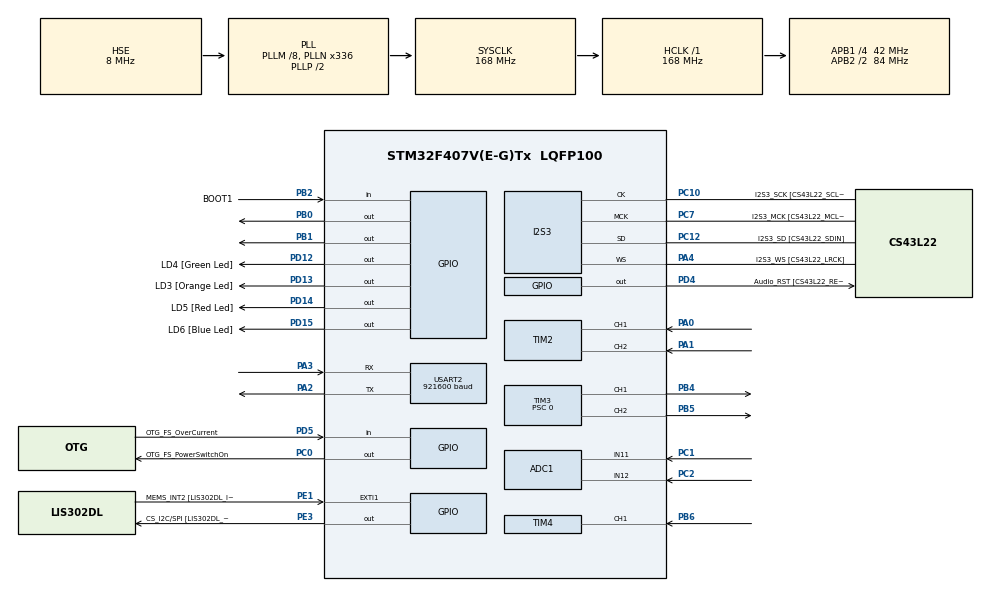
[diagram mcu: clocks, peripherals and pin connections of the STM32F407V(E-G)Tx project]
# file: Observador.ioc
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ADC1.Channel-0\#ChannelRegularConversion=ADC_CHANNEL_11
ADC1.Channel-1\#ChannelRegularConversion=ADC_CHANNEL_11
ADC1.ContinuousConvMode=ENABLE
ADC1.NbrOfConversion=2
ADC1.NbrOfConversionFlag=1
ADC1.Rank-0\#ChannelRegularConversion=1
ADC1.Rank-1\#ChannelRegularConversion=2
ADC1.SamplingTime-0\#ChannelRegularConversion=ADC_SAMPLETIME_144CYCLES
ADC1.SamplingTime-1\#ChannelRegularConversion=ADC_SAMPLETIME_144CYCLES
ADC1.ScanConvMode=ENABLE
ADC1.master=1
Dma.ADC1.0.Direction=DMA_PERIPH_TO_MEMORY
Dma.ADC1.0.FIFOMode=DMA_FIFOMODE_DISABLE
Dma.ADC1.0.Instance=DMA2_Stream0
Dma.ADC1.0.MemDataAlignment=DMA_MDATAALIGN_HALFWORD
Dma.ADC1.0.MemInc=DMA_MINC_ENABLE
Dma.ADC1.0.Mode=DMA_CIRCULAR
Dma.ADC1.0.PeriphDataAlignment=DMA_PDATAALIGN_HALFWORD
Dma.ADC1.0.PeriphInc=DMA_PINC_DISABLE
Dma.ADC1.0.Priority=DMA_PRIORITY_LOW
Dma.Request0=ADC1
Dma.Request1=USART2_TX
Dma.USART2_TX.1.Direction=DMA_MEMORY_TO_PERIPH
Dma.USART2_TX.1.FIFOMode=DMA_FIFOMODE_DISABLE
Dma.USART2_TX.1.Instance=DMA1_Stream6
Dma.USART2_TX.1.MemDataAlignment=DMA_MDATAALIGN_BYTE
Dma.USART2_TX.1.MemInc=DMA_MINC_ENABLE
Dma.USART2_TX.1.Mode=DMA_NORMAL
Dma.USART2_TX.1.PeriphDataAlignment=DMA_PDATAALIGN_BYTE
Dma.USART2_TX.1.PeriphInc=DMA_PINC_DISABLE
Dma.USART2_TX.1.Priority=DMA_PRIORITY_LOW
I2S3.AudioFreq-Half_Duplex_Master=I2S_AUDIOFREQ_96K
I2S3.ErrorAudioFreq=-2.34 %
I2S3.ErrorAudioFreq-Half_Duplex_Master=0.8 %
I2S3.FullDuplexMode=I2S_FULLDUPLEXMODE_DISABLE
I2S3.Instance=SPI$Index
I2S3.RealAudioFreq=93.75 KHz
I2S3.RealAudioFreq-Half_Duplex_Master=96.774 KHz
I2S3.VirtualMode=I2S_MODE_MASTER
Mcu.Family=STM32F4
Mcu.Name=STM32F407V(E-G)Tx
Mcu.Package=LQFP100
NVIC.DMA1_Stream6_IRQn=true\:3\:0\:true\:false\:true\:false\:true\:true
NVIC.DMA2_Stream0_IRQn=true\:3\:0\:true\:false\:true\:false\:true\:true
NVIC.PriorityGroup=NVIC_PRIORITYGROUP_4
NVIC.TIM4_IRQn=true\:1\:0\:true\:false\:true\:true\:false\:true
NVIC.TIM6_DAC_IRQn=true\:2\:0\:true\:false\:true\:true\:false\:true
NVIC.USART2_IRQn=true\:2\:0\:true\:false\:true\:true\:true\:true
PA0-WKUP.GPIO_PuPd=GPIO_NOPULL
PA0-WKUP.GPIO_Speed=GPIO_SPEED_FREQ_MEDIUM
PA0-WKUP.Signal=S_TIM2_CH1_ETR
PA1.GPIO_Speed=GPIO_SPEED_FREQ_MEDIUM
PA1.Signal=S_TIM2_CH2
PA10.GPIO_Label=OTG_FS_ID
PA10.GPIO_Mode=GPIO_MODE_AF_PP
PA10.GPIO_PuPd=GPIO_NOPULL
PA10.GPIO_Speed=GPIO_SPEED_FREQ_LOW
PA10.Signal=USB_OTG_FS_ID
PA11.GPIO_Label=OTG_FS_DM
PA11.GPIO_Mode=GPIO_MODE_AF_PP
PA11.GPIO_PuPd=GPIO_NOPULL
PA11.GPIO_Speed=GPIO_SPEED_FREQ_LOW
PA11.Signal=USB_OTG_FS_DM
PA12.GPIO_Label=OTG_FS_DP
PA12.GPIO_Mode=GPIO_MODE_AF_PP
PA12.GPIO_PuPd=GPIO_NOPULL
PA12.GPIO_Speed=GPIO_SPEED_FREQ_LOW
PA12.Signal=USB_OTG_FS_DP
PA13.GPIO_Label=SWDIO
PA13.Mode=Serial_Wire
PA13.Signal=SYS_JTMS-SWDIO
PA14.GPIO_Label=SWCLK
PA14.Mode=Serial_Wire
PA14.Signal=SYS_JTCK-SWCLK
PA2.GPIO_PuPd=GPIO_PULLUP
PA2.GPIO_Speed=GPIO_SPEED_FREQ_VERY_HIGH
PA2.Mode=Asynchronous
PA2.Signal=USART2_TX
PA3.GPIO_PuPd=GPIO_PULLUP
PA3.Mode=Asynchronous
PA3.Signal=USART2_RX
PA4.GPIO_Label=I2S3_WS [CS43L22_LRCK]
PA4.GPIO_Mode=GPIO_MODE_AF_PP
PA4.GPIO_PuPd=GPIO_NOPULL
PA4.GPIO_Speed=GPIO_SPEED_FREQ_LOW
PA4.Mode=Half_Duplex_Master
PA4.Signal=I2S3_WS
PA5.GPIO_Label=SPI1_SCK [LIS302DL_SCL/SPC]
PA5.GPIO_Mode=GPIO_MODE_AF_PP
PA5.GPIO_PuPd=GPIO_NOPULL
PA5.GPIO_Speed=GPIO_SPEED_FREQ_LOW
PA5.Signal=SPI1_SCK
PA6.GPIO_Label=SPI1_MISO [LIS302DL_SDO]
PA6.GPIO_Mode=GPIO_MODE_AF_PP
PA6.GPIO_PuPd=GPIO_NOPULL
PA6.GPIO_Speed=GPIO_SPEED_FREQ_LOW
PA6.Signal=SPI1_MISO
PA7.GPIO_Label=SPI1_MOSI [LIS302DL_SDA/SDI/SDO]
PA7.GPIO_Mode=GPIO_MODE_AF_PP
PA7.GPIO_PuPd=GPIO_NOPULL
PA7.GPIO_Speed=GPIO_SPEED_FREQ_LOW
PA7.Signal=SPI1_MOSI
PA9.GPIO_Label=VBUS_FS
PA9.GPIO_Mode=GPIO_MODE_INPUT
PA9.GPIO_PuPd=GPIO_NOPULL
PA9.Signal=USB_OTG_FS_VBUS
PB0.Signal=GPIO_Output
PB1.Signal=GPIO_Output
PB10.GPIO_Label=CLK_IN [MP45DT02_CLK]
PB10.GPIO_Mode=GPIO_MODE_AF_PP
PB10.GPIO_PuPd=GPIO_NOPULL
PB10.GPIO_Speed=GPIO_SPEED_FREQ_LOW
PB10.Signal=I2S2_CK
PB2.GPIO_Label=BOOT1
PB2.GPIO_Mode=GPIO_MODE_INPUT
PB2.GPIO_PuPd=GPIO_NOPULL
PB2.Signal=GPIO_Input
PB3.GPIO_Label=SWO
PB3.Signal=SYS_JTDO-SWO
PB4.GPIO_Speed=GPIO_SPEED_FREQ_HIGH
PB4.Signal=S_TIM3_CH1
PB5.GPIO_Speed=GPIO_SPEED_FREQ_HIGH
PB5.Signal=S_TIM3_CH2
PB6.Signal=S_TIM4_CH1
PB9.GPIO_Label=Audio_SDA [CS43L22_SDA]
PB9.GPIO_Mode=GPIO_MODE_AF_OD
PB9.GPIO_Pu=GPIO_PULLUP
PB9.GPIO_PuPd=GPIO_NOPULL
PB9.GPIO_Speed=GPIO_SPEED_FREQ_LOW
PB9.Signal=I2C1_SDA
PC0.GPIO_Label=OTG_FS_PowerSwitchOn
PC0.GPIO_PuPd=GPIO_NOPULL
PC0.GPIO_Speed=GPIO_SPEED_FREQ_LOW
PC0.PinState=GPIO_PIN_SET
PC0.Signal=GPIO_Output
PC1.Signal=ADCx_IN11
PC10.GPIO_Label=I2S3_SCK [CS43L22_SCLK]
PC10.GPIO_Mode=GPIO_MODE_AF_PP
PC10.GPIO_PuPd=GPIO_NOPULL
PC10.GPIO_Speed=GPIO_SPEED_FREQ_LOW
PC10.Mode=Half_Duplex_Master
PC10.Signal=I2S3_CK
PC12.GPIO_Label=I2S3_SD [CS43L22_SDIN]
PC12.GPIO_Mode=GPIO_MODE_AF_PP
PC12.GPIO_PuPd=GPIO_NOPULL
PC12.GPIO_Speed=GPIO_SPEED_FREQ_LOW
PC12.Mode=Half_Duplex_Master
PC12.Signal=I2S3_SD
PC14-OSC32_IN.GPIO_Label=PC14-OSC32_IN
PC14-OSC32_IN.Mode=LSE-External-Oscillator
PC14-OSC32_IN.Signal=RCC_OSC32_IN
PC15-OSC32_OUT.GPIO_Label=PC15-OSC32_OUT
PC15-OSC32_OUT.Mode=LSE-External-Oscillator
PC15-OSC32_OUT.Signal=RCC_OSC32_OUT
PC2.Signal=ADCx_IN12
PC3.GPIO_Label=PDM_OUT [MP45DT02_DOUT]
PC3.GPIO_Mode=GPIO_MODE_AF_PP
PC3.GPIO_PuPd=GPIO_NOPULL
PC3.GPIO_Speed=GPIO_SPEED_FREQ_LOW
PC3.Signal=I2S2_SD
PC7.GPIO_Label=I2S3_MCK [CS43L22_MCLK]
PC7.GPIO_Mode=GPIO_MODE_AF_PP
PC7.GPIO_PuPd=GPIO_NOPULL
PC7.GPIO_Speed=GPIO_SPEED_FREQ_LOW
PC7.Mode=Master_Clock_Activated
PC7.Signal=I2S3_MCK
PD12.GPIO_Label=LD4 [Green Led]
PD12.GPIO_PuPd=GPIO_NOPULL
PD12.GPIO_Speed=GPIO_SPEED_FREQ_LOW
PD12.Signal=GPIO_Output
PD13.GPIO_Label=LD3 [Orange Led]
PD13.GPIO_PuPd=GPIO_NOPULL
PD13.GPIO_Speed=GPIO_SPEED_FREQ_LOW
PD13.Signal=GPIO_Output
PD14.GPIO_Label=LD5 [Red Led]
PD14.GPIO_PuPd=GPIO_NOPULL
PD14.GPIO_Speed=GPIO_SPEED_FREQ_LOW
PD14.Signal=GPIO_Output
PD15.GPIO_Label=LD6 [Blue Led]
PD15.GPIO_PuPd=GPIO_NOPULL
PD15.GPIO_Speed=GPIO_SPEED_FREQ_LOW
PD15.Signal=GPIO_Output
PD4.GPIO_Label=Audio_RST [CS43L22_RESET]
PD4.GPIO_PuPd=GPIO_NOPULL
PD4.GPIO_Speed=GPIO_SPEED_FREQ_LOW
PD4.Signal=GPIO_Output
PD5.GPIO_Label=OTG_FS_OverCurrent
PD5.GPIO_Mode=GPIO_MODE_INPUT
PD5.GPIO_PuPd=GPIO_NOPULL
PD5.Signal=GPIO_Input
PE1.GPIO_Label=MEMS_INT2 [LIS302DL_INT2]
PE1.GPIO_ModeDefaultEXTI=GPIO_MODE_EVT_RISING
PE1.GPIO_PuPd=GPIO_NOPULL
PE1.Signal=GPXTI1
PE3.GPIO_Label=CS_I2C/SPI [LIS302DL_CS_I2C/SPI]
PE3.GPIO_PuPd=GPIO_NOPULL
PE3.GPIO_Speed=GPIO_SPEED_FREQ_LOW
PE3.Signal=GPIO_Output
PH0-OSC_IN.GPIO_Label=PH0-OSC_IN
PH0-OSC_IN.Mode=HSE-External-Oscillator
PH0-OSC_IN.Signal=RCC_OSC_IN
PH1-OSC_OUT.GPIO_Label=PH1-OSC_OUT
PH1-OSC_OUT.Mode=HSE-External-Oscillator
PH1-OSC_OUT.Signal=RCC_OSC_OUT
ProjectManager.HeapSize=0x200
ProjectManager.StackSize=0x400
ProjectManager.TargetToolchain=STM32CubeIDE
RCC.48MHZClocksFreq_Value=48000000
RCC.AHBFreq_Value=168000000
RCC.APB1CLKDivider=RCC_HCLK_DIV4
RCC.APB1Freq_Value=42000000
RCC.APB1TimFreq_Value=84000000
RCC.APB2CLKDivider=RCC_HCLK_DIV2
RCC.APB2Freq_Value=84000000
RCC.APB2TimFreq_Value=168000000
RCC.CortexFreq_Value=21000000
RCC.Cortex_Div=SYSTICK_CLKSOURCE_HCLK_DIV8
RCC.HCLKFreq_Value=168000000
RCC.HSE_VALUE=8000000
RCC.HSI_VALUE=16000000
RCC.PLLM=8
RCC.PLLN=336
RCC.PLLQ=7
RCC.PLLSourceVirtual=RCC_PLLSOURCE_HSE
RCC.SYSCLKFreq_VALUE=168000000
RCC.SYSCLKSource=RCC_SYSCLKSOURCE_PLLCLK
RCC.VCOOutputFreq_Value=336000000
SH.ADCx_IN11.0=ADC1_IN11,IN11
SH.ADCx_IN12.0=ADC1_IN12,IN12
SH.S_TIM2_CH1_ETR.0=TIM2_CH1,Encoder_Interface
SH.S_TIM2_CH2.0=TIM2_CH2,Encoder_Interface
SH.S_TIM3_CH1.0=TIM3_CH1,PWM Generation1 CH1
SH.S_TIM3_CH2.0=TIM3_CH2,PWM Generation2 CH2
SH.S_TIM4_CH1.0=TIM4_CH1,Input_Capture1_from_TI1
TIM2.EncoderMode=TIM_ENCODERMODE_TI12
TIM2.IC1Filter=4
TIM2.IC2Filter=4
TIM3.AutoReloadPreload=TIM_AUTORELOAD_PRELOAD_ENABLE
TIM3.Channel-PWM\ Generation1\ CH1=TIM_CHANNEL_1
TIM3.Channel-PWM\ Generation2\ CH2=TIM_CHANNEL_2
TIM3.OCMode_PWM-PWM\ Generation2\ CH2=TIM_OCMODE_PWM1
TIM3.Period=5249
TIM3.Prescaler=0
TIM4.Channel-Input_Capture1_from_TI1=TIM_CHANNEL_1
TIM4.ICFilter_CH1=4
TIM4.Prescaler=83
TIM5.Prescaler=83
TIM6.Period=99
TIM6.Prescaler=8399
USART2.BaudRate=921600
USART2.VirtualMode=VM_ASYNC
VP_TIM3_VS_ClockSourceINT.Mode=Internal
VP_TIM4_VS_ClockSourceINT.Mode=Internal
VP_TIM5_VS_ClockSourceINT.Mode=Internal
VP_TIM6_VS_ClockSourceINT.Mode=Enable_Timer
board=STM32F407G-DISC1

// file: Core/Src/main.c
/* USER CODE BEGIN Header */
/**
  ******************************************************************************
  * @file           : main.c
  * @brief          : Observador de perturbacion + control PI + telemetria
  *                   Jitter Ingenieria SAS
  ******************************************************************************
  */
/* USER CODE END Header */
#include "main.h"
#include "adc.h"
#include "dma.h"
#include "i2s.h"
#include "tim.h"
#include "usart.h"
#include "gpio.h"

/* USER CODE BEGIN Includes */
#include <stdio.h>
#include <stdlib.h>
#include <string.h>
/* USER CODE END Includes */

/* USER CODE BEGIN PV */

/*=========================================================
=   PARAMETROS DEL SISTEMA
=========================================================*/
#define TS_NOMINAL     0.01f      /* 10 ms */
#define PWM_ARR        5249.0f    /* ARR de TIM3 -> 16 kHz */
#define PPR_REAL       1266.0f    /* cuentas TIM2 por vuelta (x4) */
#define STALL_US       50000U     /* margen holgado vs wrap TIM4 (65.5 ms) */
#define DT_US_MIN      200U       /* cota inferior plausible entre flancos */
#define DT_US_MAX      60000U     /* cota superior plausible entre flancos */
#define W_MAX_FISICO   500.0f     /* RPM: cota de plausibilidad */
#define ADC_BUF_LEN    64         /* 32 scans x 2 canales */
#define R_IS_OHM       4700.0f
#define K_ILIS         8500.0f
#define VREF           3.3f

/*=========================================================
=   MODELO IDENTIFICADO  (barrido 20260909 + escalon 20260909)
=   K   = 1.0654 rpm/%   (R2 = 0.99928)
=   tau = 45.8 ms        (media; varia 34-58 ms con el punto
=                         de operacion, ver fig03)
=========================================================*/
float mod_a = 0.196165f;
float mod_b = 0.208994f;

/*=========================================================
=   FILTRO DE KALMAN  x = [w_hat, d_hat]
=========================================================*/
float x1 = 0.0f, x2 = 0.0f;            /* w_hat [RPM], d_hat [%duty] */
float P11 = 100.0f, P12 = 0.0f;
float P21 = 0.0f,   P22 = 100.0f;

float kf_q1 = 0.50f;      /* ruido de proceso en w */
float kf_q2 = 0.02f;      /* ruido de proceso en d (lento = degradacion) */
float kf_R =  0.1227f;     /* varianza intra-punto medida [rpm^2] */

/*=========================================================
=   MEDICION M/T  (compartidas con la ISR de TIM4)
=========================================================*/
volatile uint16_t cap_t_us      = 0;
volatile uint32_t cap_cnt       = 0;
volatile uint8_t  cap_nueva     = 0;
volatile uint8_t  cap_n_flancos = 0;

uint16_t cap_t_us_prev   = 0;
uint32_t cap_cnt_prev    = 0;
uint8_t  mt_inicializado = 0;
uint8_t  n_flancos       = 0;   /* flancos por ventana de control */

float    w_raw = 0.0f;          /* velocidad M/T [RPM] */
uint8_t  medida_valida = 0;
uint32_t t_ultimo_flanco_us = 0;

/*=========================================================
=   BASE DE TIEMPO
=========================================================*/
volatile uint8_t  tick_control = 0;
uint32_t muestra_k = 0;
uint32_t t_us      = 0;
uint32_t t_us_prev = 0;
float    dt_real   = TS_NOMINAL;

/*=========================================================
=   REFERENCIA
=========================================================*/
float referencia_objetivo = 0.0f;
float referencia          = 0.0f;
const float RAMPA_RPM_SEG = 20.0f;

/*=========================================================
=   CONTROLADOR PI  (en % de duty)
=========================================================*/
float Kp = 0.35f;         /* re-sintonizar tras identificar */
float Ki = 1.20f;
float error    = 0.0f;
float integral = 0.0f;
float u_pi     = 0.0f;
float duty     = 0.0f;

const float DUTY_MIN = 0.0f;
const float DUTY_MAX = 95.0f;

/*=========================================================
=   MODO MANUAL (identificacion y ensayos)
=   Arranca en manual con duty 0: seguro por defecto.
=========================================================*/
uint8_t modo_manual = 1;
float   duty_manual = 0.0f;

/*=========================================================
=   ADC / CORRIENTE
=========================================================*/
uint16_t adc_buf[ADC_BUF_LEN];
float i_r = 0.0f, i_l = 0.0f;

/*=========================================================
=   PROTECCIONES Y BANDERAS
=========================================================*/
uint8_t flags = 0;
#define F_STALL     0x01
#define F_SAT       0x02
#define F_NO_EDGE   0x04
#define F_FALLO_PWM 0x08
#define F_GLITCH    0x10
#define F_MANUAL    0x20

uint32_t contador_sat = 0;
const uint32_t TIEMPO_SAT_MAX = 300;

/*=========================================================
=   TELEMETRIA
=========================================================*/
char uart_tx[192];
volatile uint8_t uart_ocupado = 0;

/*=========================================================
=   RECEPCION DE COMANDOS
=   R<rpm>  referencia objetivo      D<%>  duty manual
=   A       modo automatico          P<x>  Kp
=   I<x>    Ki                       Z     reset estados
=========================================================*/
uint8_t rx_byte = 0;
char    rx_buf[32];
uint8_t rx_idx = 0;

/* USER CODE END PV */

void SystemClock_Config(void);
/* USER CODE BEGIN PFP */
void Medicion_MT(void);
void Kalman_Update(uint8_t hay_medida);
void Referencia_Update(void);
void PI_Update(void);
void Motor_SetDuty(float d);
void ADC_Procesar(void);
void Protecciones_Update(void);
void Telemetria_Enviar(void);
void Estados_Reset(void);
uint8_t crc8(const char *s, int n);
/* USER CODE END PFP */

int main(void)
{

  /* MCU Configuration--------------------------------------------------------*/

  /* Reset of all peripherals, Initializes the Flash interface and the Systick. */
  HAL_Init();

  /* Configure the system clock */
  SystemClock_Config();

  /* Initialize all configured peripherals */
  MX_GPIO_Init();
  MX_DMA_Init();
  MX_I2S3_Init();
  MX_TIM2_Init();
  MX_TIM3_Init();
  MX_USART2_UART_Init();
  MX_ADC1_Init();
  MX_TIM4_Init();
  MX_TIM5_Init();
  MX_TIM6_Init();
  /* USER CODE BEGIN 2 */

  /* Encoder en cuadratura */
  HAL_TIM_Encoder_Start(&htim2, TIM_CHANNEL_ALL);

  /* Base de tiempo global en microsegundos */
  HAL_TIM_Base_Start(&htim5);

  /* Captura de flancos de QA */
  HAL_TIM_IC_Start_IT(&htim4, TIM_CHANNEL_1);

  /* PWM: arranque en cero */
  HAL_TIM_PWM_Start(&htim3, TIM_CHANNEL_1);
  HAL_TIM_PWM_Start(&htim3, TIM_CHANNEL_2);
  __HAL_TIM_SET_COMPARE(&htim3, TIM_CHANNEL_1, 0);
  __HAL_TIM_SET_COMPARE(&htim3, TIM_CHANNEL_2, 0);

  /* ADC continuo por DMA */
  HAL_ADC_Start_DMA(&hadc1, (uint32_t*)adc_buf, ADC_BUF_LEN);

  /* Recepcion de comandos byte a byte */
  HAL_UART_Receive_IT(&huart2, &rx_byte, 1);

  /* Arranque del lazo de control a 100 Hz */
  t_us_prev = TIM5->CNT;
  t_ultimo_flanco_us = TIM5->CNT;
  HAL_TIM_Base_Start_IT(&htim6);

  /* USER CODE END 2 */

  /* Infinite loop */
  while (1)
  {

    /* USER CODE BEGIN 3 */
      if (tick_control)
      {
          tick_control = 0;

          HAL_GPIO_WritePin(GPIOD, LD4_Pin, GPIO_PIN_SET);   /* sonda scope */

          t_us    = TIM5->CNT;
          dt_real = (float)((uint32_t)(t_us - t_us_prev)) * 1e-6f;
          t_us_prev = t_us;

          Medicion_MT();
          Kalman_Update(medida_valida);
          Referencia_Update();

          if (modo_manual)
          {
              duty = duty_manual;
              if (duty > DUTY_MAX) duty = DUTY_MAX;
              if (duty < DUTY_MIN) duty = DUTY_MIN;
              u_pi = duty;
              error = referencia - x1;
              flags |= F_MANUAL;
          }
          else
          {
              PI_Update();
          }

          ADC_Procesar();
          Protecciones_Update();
          Motor_SetDuty(duty);
          Telemetria_Enviar();

          muestra_k++;

          HAL_GPIO_WritePin(GPIOD, LD4_Pin, GPIO_PIN_RESET);
      }
  }
  /* USER CODE END 3 */
}

void SystemClock_Config(void)
{
  RCC_OscInitTypeDef RCC_OscInitStruct = {0};
  RCC_ClkInitTypeDef RCC_ClkInitStruct = {0};

  /** Configure the main internal regulator output voltage
  */
  __HAL_RCC_PWR_CLK_ENABLE();
  __HAL_PWR_VOLTAGESCALING_CONFIG(PWR_REGULATOR_VOLTAGE_SCALE1);

  /** Initializes the RCC Oscillators according to the specified parameters
  * in the RCC_OscInitTypeDef structure.
  */
  RCC_OscInitStruct.OscillatorType = RCC_OSCILLATORTYPE_HSE;
  RCC_OscInitStruct.HSEState = RCC_HSE_ON;
  RCC_OscInitStruct.PLL.PLLState = RCC_PLL_ON;
  RCC_OscInitStruct.PLL.PLLSource = RCC_PLLSOURCE_HSE;
  RCC_OscInitStruct.PLL.PLLM = 8;
  RCC_OscInitStruct.PLL.PLLN = 336;
  RCC_OscInitStruct.PLL.PLLP = RCC_PLLP_DIV2;
  RCC_OscInitStruct.PLL.PLLQ = 7;
  if (HAL_RCC_OscConfig(&RCC_OscInitStruct) != HAL_OK)
  {
    Error_Handler();
  }

  /** Initializes the CPU, AHB and APB buses clocks
  */
  RCC_ClkInitStruct.ClockType = RCC_CLOCKTYPE_HCLK|RCC_CLOCKTYPE_SYSCLK
                              |RCC_CLOCKTYPE_PCLK1|RCC_CLOCKTYPE_PCLK2;
  RCC_ClkInitStruct.SYSCLKSource = RCC_SYSCLKSOURCE_PLLCLK;
  RCC_ClkInitStruct.AHBCLKDivider = RCC_SYSCLK_DIV1;
  RCC_ClkInitStruct.APB1CLKDivider = RCC_HCLK_DIV4;
  RCC_ClkInitStruct.APB2CLKDivider = RCC_HCLK_DIV2;

  if (HAL_RCC_ClockConfig(&RCC_ClkInitStruct, FLASH_LATENCY_5) != HAL_OK)
  {
    Error_Handler();
  }
}

/* USER CODE BEGIN 4 */

/*=========================================================
=   ISR: base de tiempo del lazo (100 Hz)
=========================================================*/
void HAL_TIM_PeriodElapsedCallback(TIM_HandleTypeDef *htim)
{
    if (htim->Instance == TIM6)
        tick_control = 1;
}

/*=========================================================
=   ISR: captura de flanco de QA
=   Marca de tiempo por hardware: sin jitter de latencia.
=   Conserva el ULTIMO flanco de la ventana y cuenta cuantos
=   hubo. Ambos extremos del intervalo caen sobre flancos
=   reales, por lo que dcnt y dt_us son exactos.
=========================================================*/
void HAL_TIM_IC_CaptureCallback(TIM_HandleTypeDef *htim)
{
    if (htim->Instance == TIM4 && htim->Channel == HAL_TIM_ACTIVE_CHANNEL_1)
    {
        if (cap_n_flancos < 255) cap_n_flancos++;

        cap_t_us  = (uint16_t)TIM4->CCR1;
        cap_cnt   = TIM2->CNT;
        cap_nueva = 1;
    }
}

/*=========================================================
=   MEDICION M/T
=   Velocidad entre instantes de flanco, no entre ticks.
=   Elimina la cuantizacion del lado temporal.
=========================================================*/
void Medicion_MT(void)
{
    uint16_t t_loc;
    uint32_t c_loc;
    uint8_t  nueva;

    __disable_irq();
    nueva         = cap_nueva;
    t_loc         = cap_t_us;
    c_loc         = cap_cnt;
    n_flancos     = cap_n_flancos;
    cap_nueva     = 0;
    cap_n_flancos = 0;
    __enable_irq();

    medida_valida = 0;

    if (nueva)
    {
        t_ultimo_flanco_us = t_us;
        flags &= ~(F_STALL | F_NO_EDGE);

        if (!mt_inicializado)
        {
            cap_t_us_prev   = t_loc;
            cap_cnt_prev    = c_loc;
            mt_inicializado = 1;
            return;
        }

        uint16_t dt_us = (uint16_t)(t_loc - cap_t_us_prev);
        int32_t  dcnt  = (int32_t)(c_loc - cap_cnt_prev);

        if (dt_us > DT_US_MIN && dt_us < DT_US_MAX)
        {
            float w = ((float)dcnt * 60.0f) /
                      (PPR_REAL * ((float)dt_us * 1e-6f));

            if (w > -W_MAX_FISICO && w < W_MAX_FISICO)
            {
                w_raw = w;
                medida_valida = 1;
            }
            else
            {
                flags |= F_GLITCH;
            }
        }
        else
        {
            flags |= F_GLITCH;
        }

        cap_t_us_prev = t_loc;
        cap_cnt_prev  = c_loc;
    }
    else
    {
        flags |= F_NO_EDGE;

        if ((uint32_t)(t_us - t_ultimo_flanco_us) > STALL_US)
        {
            w_raw = 0.0f;
            medida_valida   = 1;   /* la ausencia de flancos ES informacion */
            mt_inicializado = 0;   /* re-sincroniza al reanudar el giro */
            flags |= F_STALL;
        }
    }
}

/*=========================================================
=   FILTRO DE KALMAN  x = [w_hat, d_hat]
=   F = [[1-a, -b],[0, 1]]   G = [b, 0]'   H = [1, 0]
=   d_hat: perturbacion referida a la entrada, en % de duty.
=   Sin medida disponible solo predice: manejo nativo de
=   muestras faltantes a baja velocidad.
=========================================================*/
void Kalman_Update(uint8_t hay_medida)
{
    const float a = mod_a;
    const float b = mod_b;
    const float f11 = 1.0f - a;

    /* ---- Prediccion del estado ---- */
    float x1p = f11 * x1 - b * x2 + b * duty;
    float x2p = x2;

    /* ---- Prediccion de covarianza: P = F P F' + Q ---- */
    float m11 = f11 * P11 - b * P21;
    float m12 = f11 * P12 - b * P22;
    float m21 = P21;
    float m22 = P22;

    float Pp11 = m11 * f11 - m12 * b + kf_q1;
    float Pp12 = m12;
    float Pp21 = m21 * f11 - m22 * b;
    float Pp22 = m22 + kf_q2;

    if (hay_medida)
    {
        float S   = Pp11 + kf_R;
        float K1  = Pp11 / S;
        float K2  = Pp21 / S;
        float inn = w_raw - x1p;

        x1 = x1p + K1 * inn;
        x2 = x2p + K2 * inn;

        P11 = Pp11 - K1 * Pp11;
        P12 = Pp12 - K1 * Pp12;
        P21 = Pp21 - K2 * Pp11;
        P22 = Pp22 - K2 * Pp12;
    }
    else
    {
        x1  = x1p;  x2  = x2p;
        P11 = Pp11; P12 = Pp12;
        P21 = Pp21; P22 = Pp22;
    }
}

/*=========================================================
=   GENERADOR DE REFERENCIA (rampa suave)
=========================================================*/
void Referencia_Update(void)
{
    float inc = RAMPA_RPM_SEG * dt_real;

    if (referencia < referencia_objetivo)
    {
        referencia += inc;
        if (referencia > referencia_objetivo) referencia = referencia_objetivo;
    }
    else if (referencia > referencia_objetivo)
    {
        referencia -= inc;
        if (referencia < referencia_objetivo) referencia = referencia_objetivo;
    }
}

/*=========================================================
=   CONTROLADOR PI EN % DE DUTY
=   Anti-windup por integracion condicional.
=========================================================*/
void PI_Update(void)
{
    error = referencia - x1;

    float integral_temp = integral + error * dt_real;
    float u_temp = Kp * error + Ki * integral_temp;

    if (u_temp >= DUTY_MIN && u_temp <= DUTY_MAX)
        integral = integral_temp;
    else
        flags |= F_SAT;

    u_pi = Kp * error + Ki * integral;

    duty = u_pi;
    if (duty > DUTY_MAX) duty = DUTY_MAX;
    if (duty < DUTY_MIN) duty = DUTY_MIN;
}

/*=========================================================
=   ACTUADOR
=   duty en 0..100 % -> CCR directo, sin inversion.
=   Si el motor gira al reves, INTERCAMBIA M+ y M-.
=   No lo corrijas en software.
=========================================================*/
void Motor_SetDuty(float d)
{
    if (d > DUTY_MAX) d = DUTY_MAX;
    if (d < DUTY_MIN) d = DUTY_MIN;

    uint32_t ccr = (uint32_t)((d * 0.01f) * PWM_ARR);

    __HAL_TIM_SET_COMPARE(&htim3, TIM_CHANNEL_1, ccr);
    __HAL_TIM_SET_COMPARE(&htim3, TIM_CHANNEL_2, 0);
}

/*=========================================================
=   CORRIENTE (BTS7960 IS)
=   CALIBRAR contra multimetro antes de reportar amperios.
=========================================================*/
void ADC_Procesar(void)
{
    uint32_t s_r = 0, s_l = 0;

    for (int i = 0; i < ADC_BUF_LEN; i += 2)
    {
        s_r += adc_buf[i];
        s_l += adc_buf[i+1];
    }

    float n = (float)(ADC_BUF_LEN / 2);
    float v_r = ((float)s_r / n) * VREF / 4095.0f;
    float v_l = ((float)s_l / n) * VREF / 4095.0f;

    i_r = (v_r / R_IS_OHM) * K_ILIS;
    i_l = (v_l / R_IS_OHM) * K_ILIS;
}

/*=========================================================
=   PROTECCIONES
=========================================================*/
void Protecciones_Update(void)
{
    if (duty >= DUTY_MAX - 0.5f)
    {
        contador_sat++;
        if (contador_sat >= TIEMPO_SAT_MAX) flags |= F_FALLO_PWM;
    }
    else
    {
        contador_sat = 0;
    }

    if (flags & F_FALLO_PWM)
    {
        duty     = 0.0f;
        integral = 0.0f;
    }
}

/*=========================================================
=   RESET DE ESTADOS (comando Z / recuperacion de fallo)
=========================================================*/
void Estados_Reset(void)
{
    integral = 0.0f;
    x1 = 0.0f;  x2 = 0.0f;
    P11 = 100.0f; P12 = 0.0f;
    P21 = 0.0f;   P22 = 100.0f;
    mt_inicializado = 0;
    contador_sat = 0;
    flags = 0;
    referencia = 0.0f;
}

/*=========================================================
=   CRC-8  (polinomio 0x07)
=========================================================*/
uint8_t crc8(const char *s, int n)
{
    uint8_t c = 0;
    for (int i = 0; i < n; i++)
    {
        c ^= (uint8_t)s[i];
        for (int j = 0; j < 8; j++)
            c = (c & 0x80) ? (uint8_t)((c << 1) ^ 0x07) : (uint8_t)(c << 1);
    }
    return c;
}

/*=========================================================
=   TELEMETRIA POR DMA
=   k,t_us,ref,w_raw,w_hat,d_hat,e,I,u,duty,i_r,i_l,nf,flags*CRC
=========================================================*/
void Telemetria_Enviar(void)
{
    if (uart_ocupado) return;

    int n = sprintf(uart_tx,
        "%lu,%lu,%.3f,%.3f,%.3f,%.4f,%.3f,%.4f,%.3f,%.3f,%.4f,%.4f,%u,%u",
        (unsigned long)muestra_k,
        (unsigned long)t_us,
        referencia, w_raw, x1, x2,
        error, integral, u_pi, duty,
        i_r, i_l,
        (unsigned)n_flancos,
        (unsigned)flags);

    uint8_t c = crc8(uart_tx, n);
    n += sprintf(uart_tx + n, "*%02X\r\n", c);

    uart_ocupado = 1;
    if (HAL_UART_Transmit_DMA(&huart2, (uint8_t*)uart_tx, n) != HAL_OK)
        uart_ocupado = 0;

    /* Las banderas transitorias se limpian por muestra.
       F_FALLO_PWM y F_MANUAL son persistentes. */
    flags &= (F_FALLO_PWM | F_MANUAL);
    if (!modo_manual) flags &= ~F_MANUAL;
}

void HAL_UART_TxCpltCallback(UART_HandleTypeDef *huart)
{
    if (huart->Instance == USART2) uart_ocupado = 0;
}

/*=========================================================
=   RECEPCION DE COMANDOS
=   R<rpm>  referencia objetivo    D<%>  duty manual
=   A       modo automatico        P<x>  Kp
=   I<x>    Ki                     Z     reset de estados
=========================================================*/
void HAL_UART_RxCpltCallback(UART_HandleTypeDef *huart)
{
    if (huart->Instance != USART2) return;

    if (rx_byte == '\n' || rx_byte == '\r')
    {
        rx_buf[rx_idx] = '\0';

        if (rx_idx >= 1)
        {
            float v = (rx_idx > 1) ? (float)atof(rx_buf + 1) : 0.0f;

            switch (rx_buf[0])
            {
                case 'R':
                    referencia_objetivo = v;
                    break;

                case 'D':
                    duty_manual = v;
                    modo_manual = 1;
                    break;

                case 'A':
                    modo_manual = 0;
                    integral = 0.0f;
                    break;

                case 'P':
                    Kp = v;
                    break;

                case 'I':
                    Ki = v;
                    break;

                case 'Z':
                    Estados_Reset();
                    break;

                default:
                    break;
            }
        }
        rx_idx = 0;
    }
    else if (rx_idx < (sizeof(rx_buf) - 1))
    {
        rx_buf[rx_idx++] = (char)rx_byte;
    }
    else
    {
        rx_idx = 0;   /* trama sobredimensionada: descartar */
    }

    HAL_UART_Receive_IT(&huart2, &rx_byte, 1);
}

/* USER CODE END 4 */

void Error_Handler(void)
{
  __disable_irq();
  while (1)
  {
  }
}
